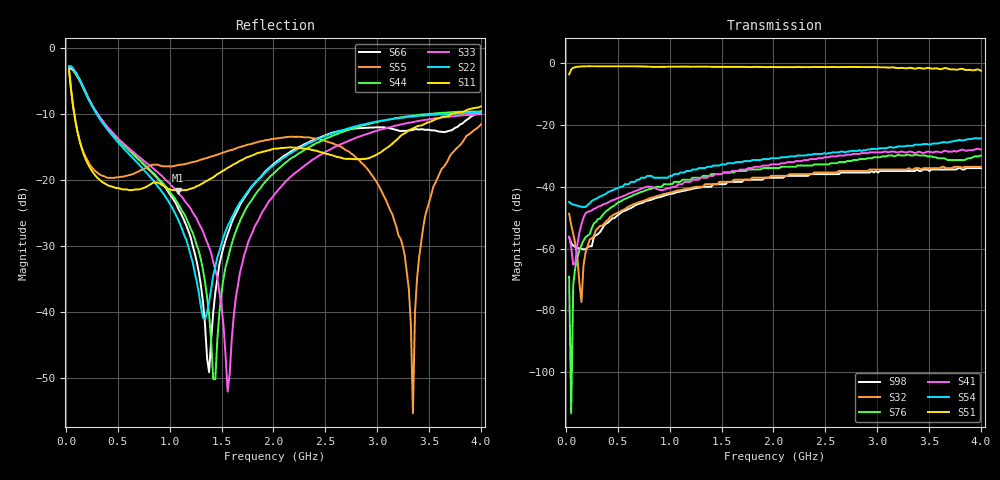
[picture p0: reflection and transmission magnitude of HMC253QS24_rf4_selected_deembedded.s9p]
!Hittite Microwave Corporation
!12 Elizabeth Drive
!Chelmsford, MA 01824
!Tel: 978-250-3343
!Fax: 978-250-3373
!Device: HMC253QS24, DC-2.5 GHz GaAS MMIC SP8T Non-Reflective Switch in 24-lead QSOP package
!Misc: Port 1 = RFCom, Port 2 = RF1, Port 3 = RF2, Port 4 = RF3, Port 5 = RF4, Port 6 = RF5, Port 7 = RF6, Port 8 = RF7, Port 9 = RF8, RF4 selected, Vdd=+5V
# MHZ S MA R 50
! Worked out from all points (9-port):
!   201 points, 30 MHz to 4 GHz, reference 50 ohm
!   strongest paths, dB at 30 MHz, 1.022 GHz, 2.015 GHz, 3.007 GHz, 4 GHz:
!     S51: -3.6, -1.2, -1.3, -1.3, -2.5
!     S54: -44.9, -36.5, -30.8, -27.7, -24.3
!     S41: -56.2, -40.1, -32.8, -28.9, -28.0
!     S76: -69.1, -39.2, -34.0, -30.5, -29.9
!     S32: -48.7, -41.8, -36.5, -34.4, -33.6
!     S98: -56.3, -42.3, -37.1, -35.4, -34.0
!   lowest |S11| = -21.6 dB at 1.082 GHz (marker M1), VSWR 1.18, Z = 58 - j4.08 ohm
!   |S11| at or under -10 dB: 80.06 MHz to 3.72 GHz (3.64 GHz wide, 192 % of centre)
